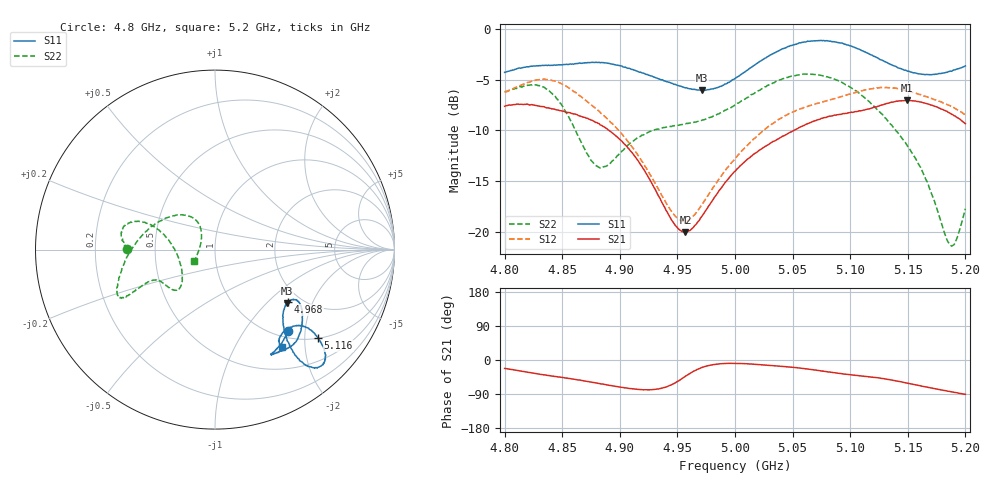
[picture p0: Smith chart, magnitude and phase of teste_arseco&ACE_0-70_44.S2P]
! Network Analyzer HP8722D
! Hewlett-Packard
! Data name: Linha & Wilkinson
! Saver's name: Rodrigo Anjos
! Comments: Teste da utilização de aquisição
! continua pelo VNA HP8722D
! Time and date: 8/5/2025 13:07
!  Frequency  S11  S21  S12  S22
# HZ  S  MA R 50
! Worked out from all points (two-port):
!   401 points, 4.8 GHz to 5.2 GHz, reference 50 ohm
!   highest |S21| = -7.03 dB at 5.149 GHz (marker M1); lowest = -20.0 dB at 4.957 GHz (marker M2)
!   |S21| within 3 dB of the highest: start of sweep to 4.891 GHz; 5.051 GHz to end of sweep
!   lowest |S11| = -6.0 dB at 4.971 GHz (marker M3), VSWR 2.99, Z = 83.8 - j66.5 ohm
!   |S11| at or under -10 dB: nowhere
!   |S22| runs from -21.4 to -4.4 dB; largest |S21 - S12| = 0.95
!   S11 on the Smith chart (normalised r, x): 4.8 GHz: 1.12, -1.64; 4.968 GHz: 1.72, -1.34; 5.116 GHz: 1.01, -2.33; 5.2 GHz: 0.82, -1.57
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4.8e9  0.612 -48.1  0.4162 -22.3  0.4887 -176.1  0.4911 179.5
4.836e9  0.6637 -61.5  0.4096 -39.9  0.5638 167.9  0.5073 163.7
4.85e9  0.6661 -60.2  0.3941 -46.0  0.5359 158.7  0.4194 158.7
4.867e9  0.678 -55.1  0.3704 -54.2  0.4611 150.2  0.2728 167.4
4.885e9  0.6836 -48.9  0.3327 -63.4  0.3794 144.1  0.2079 -160.0
4.909e9  0.6382 -40.3  0.2516 -75.4  0.2702 137.5  0.2736 -133.4
4.934e9  0.5679 -33.1  0.1491 -76.2  0.1607 141.1  0.3211 -135.8
4.948e9  0.5344 -31.9  0.1079 -60.5  0.1197 157.8  0.3344 -141.3
4.957e9  0.5134 -32.8  0.0999 -42.8  0.1126 175.0  0.3405 -145.3
4.968e9  0.5011 -35.5  0.1123 -24.0  0.128 -165.9  0.3509 -149.6
4.971e9  0.4992 -36.6  0.1187 -20.4  0.1354 -162.2  0.3545 -150.8
5e9  0.5705 -48.1  0.1987 -9.0  0.2301 -147.0  0.4222 -153.9
5.039e9  0.788 -52.4  0.2906 -16.2  0.3611 -148.3  0.5622 -152.0
5.067e9  0.874 -48.5  0.349 -25.4  0.4233 -154.7  0.5983 -155.4
5.091e9  0.8551 -43.9  0.3798 -35.5  0.4618 -161.4  0.5515 -164.6
5.116e9  0.7568 -40.6  0.4035 -44.1  0.5043 -172.5  0.4414 175.0
5.134e9  0.6741 -40.2  0.4329 -51.7  0.5141 176.7  0.3448 152.5
5.149e9  0.6237 -42.8  0.4453 -60.7  0.4966 168.2  0.2689 134.0
5.165e9  0.5961 -48.1  0.4311 -70.8  0.4666 161.0  0.1853 122.5
5.186e9  0.6183 -54.5  0.3866 -82.7  0.42 153.7  0.08741 155.6
5.191e9  0.6294 -55.4  0.3727 -85.6  0.4062 152.0  0.08782 178.8
5.2e9  0.6581 -55.7  0.3415 -90.7  0.378 149.1  0.1301 -151.6
